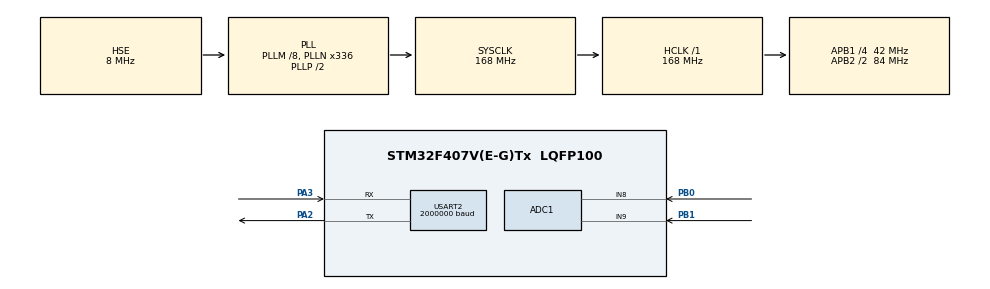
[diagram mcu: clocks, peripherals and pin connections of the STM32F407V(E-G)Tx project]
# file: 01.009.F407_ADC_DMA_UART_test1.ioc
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ADC1.Channel-3\#ChannelRegularConversion=ADC_CHANNEL_8
ADC1.Channel-4\#ChannelRegularConversion=ADC_CHANNEL_9
ADC1.ContinuousConvMode=ENABLE
ADC1.DMAContinuousRequests=ENABLE
ADC1.NbrOfConversion=2
ADC1.NbrOfConversionFlag=1
ADC1.Rank-3\#ChannelRegularConversion=1
ADC1.Rank-4\#ChannelRegularConversion=2
ADC1.SamplingTime-3\#ChannelRegularConversion=ADC_SAMPLETIME_15CYCLES
ADC1.SamplingTime-4\#ChannelRegularConversion=ADC_SAMPLETIME_15CYCLES
ADC1.master=1
Dma.ADC1.2.Direction=DMA_PERIPH_TO_MEMORY
Dma.ADC1.2.FIFOMode=DMA_FIFOMODE_DISABLE
Dma.ADC1.2.Instance=DMA2_Stream0
Dma.ADC1.2.MemDataAlignment=DMA_MDATAALIGN_HALFWORD
Dma.ADC1.2.MemInc=DMA_MINC_ENABLE
Dma.ADC1.2.Mode=DMA_CIRCULAR
Dma.ADC1.2.PeriphDataAlignment=DMA_PDATAALIGN_HALFWORD
Dma.ADC1.2.PeriphInc=DMA_PINC_DISABLE
Dma.ADC1.2.Priority=DMA_PRIORITY_LOW
Dma.Request0=USART2_TX
Dma.Request1=USART2_RX
Dma.Request2=ADC1
Dma.USART2_RX.1.Direction=DMA_PERIPH_TO_MEMORY
Dma.USART2_RX.1.FIFOMode=DMA_FIFOMODE_DISABLE
Dma.USART2_RX.1.Instance=DMA1_Stream5
Dma.USART2_RX.1.MemDataAlignment=DMA_MDATAALIGN_BYTE
Dma.USART2_RX.1.MemInc=DMA_MINC_ENABLE
Dma.USART2_RX.1.Mode=DMA_CIRCULAR
Dma.USART2_RX.1.PeriphDataAlignment=DMA_PDATAALIGN_BYTE
Dma.USART2_RX.1.PeriphInc=DMA_PINC_DISABLE
Dma.USART2_RX.1.Priority=DMA_PRIORITY_LOW
Dma.USART2_TX.0.Direction=DMA_MEMORY_TO_PERIPH
Dma.USART2_TX.0.FIFOMode=DMA_FIFOMODE_DISABLE
Dma.USART2_TX.0.Instance=DMA1_Stream6
Dma.USART2_TX.0.MemDataAlignment=DMA_MDATAALIGN_BYTE
Dma.USART2_TX.0.MemInc=DMA_MINC_ENABLE
Dma.USART2_TX.0.Mode=DMA_NORMAL
Dma.USART2_TX.0.PeriphDataAlignment=DMA_PDATAALIGN_BYTE
Dma.USART2_TX.0.PeriphInc=DMA_PINC_DISABLE
Dma.USART2_TX.0.Priority=DMA_PRIORITY_LOW
Mcu.Family=STM32F4
Mcu.Name=STM32F407V(E-G)Tx
Mcu.Package=LQFP100
NVIC.ADC_IRQn=true\:0\:0\:false\:false\:true\:true\:true\:true
NVIC.DMA1_Stream5_IRQn=true\:0\:0\:false\:false\:true\:false\:true\:true
NVIC.DMA1_Stream6_IRQn=true\:0\:0\:false\:false\:true\:false\:true\:true
NVIC.DMA2_Stream0_IRQn=true\:0\:0\:false\:false\:true\:false\:true\:true
NVIC.PriorityGroup=NVIC_PRIORITYGROUP_0
NVIC.USART2_IRQn=true\:0\:0\:false\:false\:true\:true\:true\:true
PA2.Mode=Asynchronous
PA2.Signal=USART2_TX
PA3.Mode=Asynchronous
PA3.Signal=USART2_RX
PB0.Signal=ADCx_IN8
PB1.Signal=ADCx_IN9
PH0-OSC_IN.Mode=HSE-External-Oscillator
PH0-OSC_IN.Signal=RCC_OSC_IN
PH1-OSC_OUT.Mode=HSE-External-Oscillator
PH1-OSC_OUT.Signal=RCC_OSC_OUT
ProjectManager.HeapSize=0x200
ProjectManager.StackSize=0x400
ProjectManager.TargetToolchain=STM32CubeIDE
RCC.48MHZClocksFreq_Value=48000000
RCC.AHBFreq_Value=168000000
RCC.APB1CLKDivider=RCC_HCLK_DIV4
RCC.APB1Freq_Value=42000000
RCC.APB1TimFreq_Value=84000000
RCC.APB2CLKDivider=RCC_HCLK_DIV2
RCC.APB2Freq_Value=84000000
RCC.APB2TimFreq_Value=168000000
RCC.CortexFreq_Value=168000000
RCC.HCLKFreq_Value=168000000
RCC.HSE_VALUE=8000000
RCC.HSI_VALUE=16000000
RCC.LSE_VALUE=32768
RCC.PLLM=8
RCC.PLLN=336
RCC.PLLQ=7
RCC.PLLSourceVirtual=RCC_PLLSOURCE_HSE
RCC.SYSCLKFreq_VALUE=168000000
RCC.SYSCLKSource=RCC_SYSCLKSOURCE_PLLCLK
RCC.VCOOutputFreq_Value=336000000
SH.ADCx_IN8.0=ADC1_IN8,IN8
SH.ADCx_IN9.0=ADC1_IN9,IN9
USART2.BaudRate=2000000
USART2.VirtualMode=VM_ASYNC
board=STM32F407G-DISC1

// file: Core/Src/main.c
/* USER CODE BEGIN Header */
/**
  ******************************************************************************
  * @file           : main.c
  * @brief          : Main program body
  ******************************************************************************
  * @attention
  *
  * Copyright (c) 2025 STMicroelectronics.
  * All rights reserved.
  *
  * This software is licensed under terms that can be found in the LICENSE file
  * in the root directory of this software component.
  * If no LICENSE file comes with this software, it is provided AS-IS.
  *
  ******************************************************************************
  */
/* USER CODE END Header */
#include "main.h"

/* USER CODE BEGIN Includes */

/*
 * Project is DMA ADC multichannel read(IN8,IN9)
 * ADC1 AN8(PB0) and AN9(PB1) activated and read separately. Rank:1 for IN8, and
 * Rank:2 for IN9 adjustments were important(Number of Conversion: 2 in Mx and
 * Scan Conversion Mode: Enabled, Continous Conversion Mode: Enabled, DMA Conversion Request:
 * Enabled). HAL_ADC_Start_DMA(&hadc1,(uint32_t *)adc_data,2); is outside the while loop.
 * adc_data[2] values are seen during Debug -> Live Expression .
 *  * */
#include <stdio.h>
#include <string.h>
#include <stddef.h>
#include <stdarg.h>
#include <stdbool.h>
#include <stdlib.h>
/* USER CODE END Includes */

ADC_HandleTypeDef hadc1;
DMA_HandleTypeDef hdma_adc1;

UART_HandleTypeDef huart4;
DMA_HandleTypeDef hdma_usart2_tx;
DMA_HandleTypeDef hdma_usart2_rx;

/* USER CODE BEGIN PV */
uint8_t dma_rx_buffer[64];
uint16_t old_pos = 0;

uint16_t adc_data[2];
/* USER CODE END PV */

void SystemClock_Config(void);
static void MX_GPIO_Init(void);
static void MX_DMA_Init(void);
static void MX_USART2_UART_Init(void);
static void MX_ADC1_Init(void);

/* USER CODE BEGIN 0 */
void DebugPrint(const char *format, ...)
{
    static char uartBuffer[250];  // <--- persists after function returns
    va_list args;
    va_start(args, format);
    vsnprintf(uartBuffer, sizeof(uartBuffer), format, args);
    va_end(args);

    HAL_UART_Transmit_DMA(&huart4, (uint8_t*)uartBuffer, strlen(uartBuffer));
}

void check_dma_data(void) {
    uint16_t pos = sizeof(dma_rx_buffer) - __HAL_DMA_GET_COUNTER(&hdma_usart2_rx);

    if (pos != old_pos) {
        if (pos > old_pos) {
            // Print new data
            for (uint16_t i = old_pos; i < pos; i++) {
                DebugPrint("\r\nGot: '%c' (0x%02X) at pos %d\r\n\r\n",
                       dma_rx_buffer[i], dma_rx_buffer[i], i);

            }
        }
        old_pos = pos;
    }
}

/**
 * @brief Convert ADC raw value to voltage
 * @param adc_raw: Raw ADC value (0-4095)
 * @retval float: Voltage (0.0-3.3V)
 */
float adc_to_voltage(uint16_t adc_raw)
{
    return ((float)adc_raw * 3.3f) / 4095.0f;
}

/* USER CODE END 0 */

int main(void)
{

  /* MCU Configuration--------------------------------------------------------*/

  /* Reset of all peripherals, Initializes the Flash interface and the Systick. */
  HAL_Init();

  /* Configure the system clock */
  SystemClock_Config();

  /* Initialize all configured peripherals */
  MX_GPIO_Init();
  MX_DMA_Init();
  MX_USART2_UART_Init();
  MX_ADC1_Init();
  /* USER CODE BEGIN 2 */
  HAL_UART_Receive_DMA(&huart4, dma_rx_buffer, sizeof(dma_rx_buffer));
  DebugPrint("DMA started! Type something...\r\n\r\n");

//  HAL_ADC_Start_IT(&hadc1);
//  HAL_ADCEX_CALIBRATION_START(&HADC1,ADC_SINGLE_ENDED);	//The function is NOT available on STM32F4 series! This function only exists on newer STM32 families like F3, L4, G4, H7, etc.
  HAL_ADC_Start_DMA(&hadc1,(uint32_t *)adc_data,2);

  /* USER CODE END 2 */

  /* Infinite loop */
  while (1)
  {

    /* USER CODE BEGIN 3 */

//	  check_dma_data();

  }
  /* USER CODE END 3 */
}

void SystemClock_Config(void)
{
  RCC_OscInitTypeDef RCC_OscInitStruct = {0};
  RCC_ClkInitTypeDef RCC_ClkInitStruct = {0};

  /** Configure the main internal regulator output voltage
  */
  __HAL_RCC_PWR_CLK_ENABLE();
  __HAL_PWR_VOLTAGESCALING_CONFIG(PWR_REGULATOR_VOLTAGE_SCALE1);

  /** Initializes the RCC Oscillators according to the specified parameters
  * in the RCC_OscInitTypeDef structure.
  */
  RCC_OscInitStruct.OscillatorType = RCC_OSCILLATORTYPE_HSE;
  RCC_OscInitStruct.HSEState = RCC_HSE_ON;
  RCC_OscInitStruct.PLL.PLLState = RCC_PLL_ON;
  RCC_OscInitStruct.PLL.PLLSource = RCC_PLLSOURCE_HSE;
  RCC_OscInitStruct.PLL.PLLM = 8;
  RCC_OscInitStruct.PLL.PLLN = 336;
  RCC_OscInitStruct.PLL.PLLP = RCC_PLLP_DIV2;
  RCC_OscInitStruct.PLL.PLLQ = 7;
  if (HAL_RCC_OscConfig(&RCC_OscInitStruct) != HAL_OK)
  {
    Error_Handler();
  }

  /** Initializes the CPU, AHB and APB buses clocks
  */
  RCC_ClkInitStruct.ClockType = RCC_CLOCKTYPE_HCLK|RCC_CLOCKTYPE_SYSCLK
                              |RCC_CLOCKTYPE_PCLK1|RCC_CLOCKTYPE_PCLK2;
  RCC_ClkInitStruct.SYSCLKSource = RCC_SYSCLKSOURCE_PLLCLK;
  RCC_ClkInitStruct.AHBCLKDivider = RCC_SYSCLK_DIV1;
  RCC_ClkInitStruct.APB1CLKDivider = RCC_HCLK_DIV4;
  RCC_ClkInitStruct.APB2CLKDivider = RCC_HCLK_DIV2;

  if (HAL_RCC_ClockConfig(&RCC_ClkInitStruct, FLASH_LATENCY_5) != HAL_OK)
  {
    Error_Handler();
  }
}

static void MX_ADC1_Init(void)
{

  ADC_ChannelConfTypeDef sConfig = {0};

  /** Configure the global features of the ADC (Clock, Resolution, Data Alignment and number of conversion)
  */
  hadc1.Instance = ADC1;
  hadc1.Init.ClockPrescaler = ADC_CLOCK_SYNC_PCLK_DIV4;
  hadc1.Init.Resolution = ADC_RESOLUTION_12B;
  hadc1.Init.ScanConvMode = ENABLE;
  hadc1.Init.ContinuousConvMode = ENABLE;
  hadc1.Init.DiscontinuousConvMode = DISABLE;
  hadc1.Init.ExternalTrigConvEdge = ADC_EXTERNALTRIGCONVEDGE_NONE;
  hadc1.Init.ExternalTrigConv = ADC_SOFTWARE_START;
  hadc1.Init.DataAlign = ADC_DATAALIGN_RIGHT;
  hadc1.Init.NbrOfConversion = 2;
  hadc1.Init.DMAContinuousRequests = ENABLE;
  hadc1.Init.EOCSelection = ADC_EOC_SINGLE_CONV;
  if (HAL_ADC_Init(&hadc1) != HAL_OK)
  {
    Error_Handler();
  }

  /** Configure for the selected ADC regular channel its corresponding rank in the sequencer and its sample time.
  */
  sConfig.Channel = ADC_CHANNEL_8;
  sConfig.Rank = 1;
  sConfig.SamplingTime = ADC_SAMPLETIME_15CYCLES;
  if (HAL_ADC_ConfigChannel(&hadc1, &sConfig) != HAL_OK)
  {
    Error_Handler();
  }

  /** Configure for the selected ADC regular channel its corresponding rank in the sequencer and its sample time.
  */
  sConfig.Channel = ADC_CHANNEL_9;
  sConfig.Rank = 2;
  if (HAL_ADC_ConfigChannel(&hadc1, &sConfig) != HAL_OK)
  {
    Error_Handler();
  }

}

static void MX_USART2_UART_Init(void)
{

  huart4.Instance = USART2;
  huart4.Init.BaudRate = 2000000;
  huart4.Init.WordLength = UART_WORDLENGTH_8B;
  huart4.Init.StopBits = UART_STOPBITS_1;
  huart4.Init.Parity = UART_PARITY_NONE;
  huart4.Init.Mode = UART_MODE_TX_RX;
  huart4.Init.HwFlowCtl = UART_HWCONTROL_NONE;
  huart4.Init.OverSampling = UART_OVERSAMPLING_16;
  if (HAL_UART_Init(&huart4) != HAL_OK)
  {
    Error_Handler();
  }

}

static void MX_DMA_Init(void)
{

  /* DMA controller clock enable */
  __HAL_RCC_DMA1_CLK_ENABLE();
  __HAL_RCC_DMA2_CLK_ENABLE();

  /* DMA interrupt init */
  /* DMA1_Stream5_IRQn interrupt configuration */
  HAL_NVIC_SetPriority(DMA1_Stream5_IRQn, 0, 0);
  HAL_NVIC_EnableIRQ(DMA1_Stream5_IRQn);
  /* DMA1_Stream6_IRQn interrupt configuration */
  HAL_NVIC_SetPriority(DMA1_Stream6_IRQn, 0, 0);
  HAL_NVIC_EnableIRQ(DMA1_Stream6_IRQn);
  /* DMA2_Stream0_IRQn interrupt configuration */
  HAL_NVIC_SetPriority(DMA2_Stream0_IRQn, 0, 0);
  HAL_NVIC_EnableIRQ(DMA2_Stream0_IRQn);

}

static void MX_GPIO_Init(void)
{

  /* GPIO Ports Clock Enable */
  __HAL_RCC_GPIOH_CLK_ENABLE();
  __HAL_RCC_GPIOA_CLK_ENABLE();
  __HAL_RCC_GPIOB_CLK_ENABLE();

}

/* USER CODE BEGIN 4 */

void HAL_ADC_ConvCpltCallback(ADC_HandleTypeDef *hadc)
{

}

/* USER CODE END 4 */

void Error_Handler(void)
{
  __disable_irq();
  while (1)
  {
  }
}
